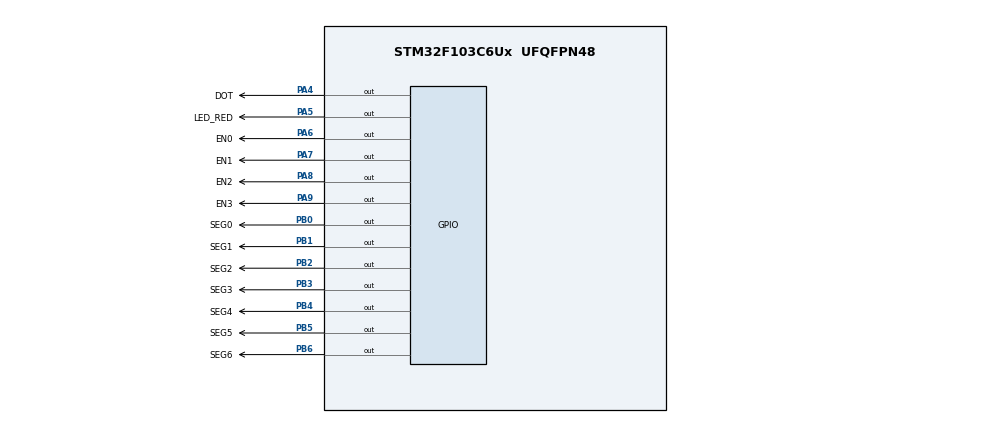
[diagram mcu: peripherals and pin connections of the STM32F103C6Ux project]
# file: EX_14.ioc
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Mcu.Family=STM32F1
Mcu.Name=STM32F103C6Ux
Mcu.Package=UFQFPN48
NVIC.PriorityGroup=NVIC_PRIORITYGROUP_4
NVIC.TIM2_IRQn=true\:0\:0\:false\:false\:true\:true\:true
PA4.GPIO_Label=DOT
PA4.Signal=GPIO_Output
PA5.GPIO_Label=LED_RED
PA5.Signal=GPIO_Output
PA6.GPIO_Label=EN0
PA6.Signal=GPIO_Output
PA7.GPIO_Label=EN1
PA7.Signal=GPIO_Output
PA8.GPIO_Label=EN2
PA8.Signal=GPIO_Output
PA9.GPIO_Label=EN3
PA9.Signal=GPIO_Output
PB0.GPIO_Label=SEG0
PB0.Signal=GPIO_Output
PB1.GPIO_Label=SEG1
PB1.Signal=GPIO_Output
PB2.GPIO_Label=SEG2
PB2.Signal=GPIO_Output
PB3.GPIO_Label=SEG3
PB3.Signal=GPIO_Output
PB4.GPIO_Label=SEG4
PB4.Signal=GPIO_Output
PB5.GPIO_Label=SEG5
PB5.Signal=GPIO_Output
PB6.GPIO_Label=SEG6
PB6.Signal=GPIO_Output
ProjectManager.HeapSize=0x200
ProjectManager.StackSize=0x400
ProjectManager.TargetToolchain=STM32CubeIDE
RCC.APB1Freq_Value=8000000
RCC.APB2Freq_Value=8000000
TIM2.Period=9
TIM2.Prescaler=7999
VP_SYS_VS_ND.Mode=No_Debug
VP_TIM2_VS_ClockSourceINT.Mode=Internal
board=custom

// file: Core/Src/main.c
/* USER CODE BEGIN Header */
/**
  ******************************************************************************
  * @file           : main.c
  * @brief          : Main program body
  ******************************************************************************
  * @attention
  *
  * Copyright (c) 2026 STMicroelectronics.
  * All rights reserved.
  *
  * This software is licensed under terms that can be found in the LICENSE file
  * in the root directory of this software component.
  * If no LICENSE file comes with this software, it is provided AS-IS.
  *
  ******************************************************************************
  */
/* USER CODE END Header */
#include "main.h"

TIM_HandleTypeDef htim2;

void SystemClock_Config(void);
static void MX_GPIO_Init(void);
static void MX_TIM2_Init(void);

/* USER CODE BEGIN 0 */
/* USER CODE BEGIN 0 */

void display7SEG(int num) {
    // -------------------------------------------------------------
    // Bước 1: Xóa hiển thị cũ bằng cách kéo tất cả các chân lên HIGH (TẮT)
    // -------------------------------------------------------------
    HAL_GPIO_WritePin(GPIOB, SEG0_Pin | SEG1_Pin | SEG2_Pin | SEG3_Pin
                           | SEG4_Pin | SEG5_Pin | SEG6_Pin, GPIO_PIN_SET);

    // -------------------------------------------------------------
    // Bước 2: Kéo chân các thanh LED cần hiển thị xuống LOW (SÁNG)
    // -------------------------------------------------------------
    switch (num) {
        case 0: // Số 0 -> Sáng: a, b, c, d, e, f (Tắt thanh g)
            HAL_GPIO_WritePin(GPIOB, SEG0_Pin | SEG1_Pin | SEG2_Pin | SEG3_Pin | SEG4_Pin | SEG5_Pin, GPIO_PIN_RESET);
            break;
        case 1: // Số 1 -> Sáng: b, c (Tắt a, d, e, f, g)
            HAL_GPIO_WritePin(GPIOB, SEG1_Pin | SEG2_Pin, GPIO_PIN_RESET);
            break;
        case 2: // Số 2 -> Sáng: a, b, d, e, g (Tắt c, f)
            HAL_GPIO_WritePin(GPIOB, SEG0_Pin | SEG1_Pin | SEG3_Pin | SEG4_Pin | SEG6_Pin, GPIO_PIN_RESET);
            break;
        case 3: // Số 3 -> Sáng: a, b, c, d, g (Tắt e, f)
            HAL_GPIO_WritePin(GPIOB, SEG0_Pin | SEG1_Pin | SEG2_Pin | SEG3_Pin | SEG6_Pin, GPIO_PIN_RESET);
            break;
        case 4: // Số 4 -> Sáng: b, c, f, g (Tắt a, d, e)
            HAL_GPIO_WritePin(GPIOB, SEG1_Pin | SEG2_Pin | SEG5_Pin | SEG6_Pin, GPIO_PIN_RESET);
            break;
        case 5: // Số 5 -> Sáng: a, c, d, f, g (Tắt b, e)
            HAL_GPIO_WritePin(GPIOB, SEG0_Pin | SEG2_Pin | SEG3_Pin | SEG5_Pin | SEG6_Pin, GPIO_PIN_RESET);
            break;
        case 6: // Số 6 -> Sáng: a, c, d, e, f, g (Tắt b)
            HAL_GPIO_WritePin(GPIOB, SEG0_Pin | SEG2_Pin | SEG3_Pin | SEG4_Pin | SEG5_Pin | SEG6_Pin, GPIO_PIN_RESET);
            break;
        case 7: // Số 7 -> Sáng: a, b, c (Tắt d, e, f, g)
            HAL_GPIO_WritePin(GPIOB, SEG0_Pin | SEG1_Pin | SEG2_Pin, GPIO_PIN_RESET);
            break;
        case 8: // Số 8 -> Sáng toàn bộ các thanh a, b, c, d, e, f, g
            HAL_GPIO_WritePin(GPIOB, SEG0_Pin | SEG1_Pin | SEG2_Pin | SEG3_Pin | SEG4_Pin | SEG5_Pin | SEG6_Pin, GPIO_PIN_RESET);
            break;
        case 9: // Số 9 -> Sáng: a, b, c, d, f, g (Tắt e)
            HAL_GPIO_WritePin(GPIOB, SEG0_Pin | SEG1_Pin | SEG2_Pin | SEG3_Pin | SEG5_Pin | SEG6_Pin, GPIO_PIN_RESET);
            break;
        default: // Trường hợp dữ liệu đầu vào ngoài phạm vi 0-9
            break;
    }
}
// =========================EX3==================================
const int MAX_LED = 4;                 // Số lượng LED 7 đoạn
int index_led = 0;                     // Vị trí LED đang được quét
int led_buffer[4] = {1, 2, 3, 4};      // Mảng chứa giá trị hiển thị: 1, 2, 3, 4

void update7SEG(int index) {
    // Tắt tất cả 4 transistor điều khiển trước để chống lem (PNP: SET = TẮT)
    HAL_GPIO_WritePin(GPIOA, EN0_Pin | EN1_Pin | EN2_Pin | EN3_Pin, GPIO_PIN_SET);

    switch (index) {
        case 0:
            // Bật LED thứ 1 và hiển thị dữ liệu ở phần tử 0
            HAL_GPIO_WritePin(GPIOA, EN0_Pin, GPIO_PIN_RESET);
            display7SEG(led_buffer[0]);
            break;
        case 1:
            // Bật LED thứ 2 và hiển thị dữ liệu ở phần tử 1
            HAL_GPIO_WritePin(GPIOA, EN1_Pin, GPIO_PIN_RESET);
            display7SEG(led_buffer[1]);
            break;
        case 2:
            // Bật LED thứ 3 và hiển thị dữ liệu ở phần tử 2
            HAL_GPIO_WritePin(GPIOA, EN2_Pin, GPIO_PIN_RESET);
            display7SEG(led_buffer[2]);
            break;
        case 3:
            // Bật LED thứ 4 và hiển thị dữ liệu ở phần tử 3
            HAL_GPIO_WritePin(GPIOA, EN3_Pin, GPIO_PIN_RESET);
            display7SEG(led_buffer[3]);
            break;
        default:
            break;
    }
}
// ==============================================================

/* USER CODE END 0 */

int main(void)
{

  /* MCU Configuration--------------------------------------------------------*/

  /* Reset of all peripherals, Initializes the Flash interface and the Systick. */
  HAL_Init();

  /* Configure the system clock */
  SystemClock_Config();

  /* Initialize all configured peripherals */
  MX_GPIO_Init();
  MX_TIM2_Init();
  /* USER CODE BEGIN 2 */
  HAL_TIM_Base_Start_IT(&htim2);
  /* USER CODE END 2 */

  /* Infinite loop */
  while (1)
  {

  }
}

void SystemClock_Config(void)
{
  RCC_OscInitTypeDef RCC_OscInitStruct = {0};
  RCC_ClkInitTypeDef RCC_ClkInitStruct = {0};

  /** Initializes the RCC Oscillators according to the specified parameters
  * in the RCC_OscInitTypeDef structure.
  */
  RCC_OscInitStruct.OscillatorType = RCC_OSCILLATORTYPE_HSI;
  RCC_OscInitStruct.HSIState = RCC_HSI_ON;
  RCC_OscInitStruct.HSICalibrationValue = RCC_HSICALIBRATION_DEFAULT;
  RCC_OscInitStruct.PLL.PLLState = RCC_PLL_NONE;
  if (HAL_RCC_OscConfig(&RCC_OscInitStruct) != HAL_OK)
  {
    Error_Handler();
  }
  /** Initializes the CPU, AHB and APB buses clocks
  */
  RCC_ClkInitStruct.ClockType = RCC_CLOCKTYPE_HCLK|RCC_CLOCKTYPE_SYSCLK
                              |RCC_CLOCKTYPE_PCLK1|RCC_CLOCKTYPE_PCLK2;
  RCC_ClkInitStruct.SYSCLKSource = RCC_SYSCLKSOURCE_HSI;
  RCC_ClkInitStruct.AHBCLKDivider = RCC_SYSCLK_DIV1;
  RCC_ClkInitStruct.APB1CLKDivider = RCC_HCLK_DIV1;
  RCC_ClkInitStruct.APB2CLKDivider = RCC_HCLK_DIV1;

  if (HAL_RCC_ClockConfig(&RCC_ClkInitStruct, FLASH_LATENCY_0) != HAL_OK)
  {
    Error_Handler();
  }
}

static void MX_TIM2_Init(void)
{

  TIM_ClockConfigTypeDef sClockSourceConfig = {0};
  TIM_MasterConfigTypeDef sMasterConfig = {0};

  htim2.Instance = TIM2;
  htim2.Init.Prescaler = 7999;
  htim2.Init.CounterMode = TIM_COUNTERMODE_UP;
  htim2.Init.Period = 9;
  htim2.Init.ClockDivision = TIM_CLOCKDIVISION_DIV1;
  htim2.Init.AutoReloadPreload = TIM_AUTORELOAD_PRELOAD_DISABLE;
  if (HAL_TIM_Base_Init(&htim2) != HAL_OK)
  {
    Error_Handler();
  }
  sClockSourceConfig.ClockSource = TIM_CLOCKSOURCE_INTERNAL;
  if (HAL_TIM_ConfigClockSource(&htim2, &sClockSourceConfig) != HAL_OK)
  {
    Error_Handler();
  }
  sMasterConfig.MasterOutputTrigger = TIM_TRGO_RESET;
  sMasterConfig.MasterSlaveMode = TIM_MASTERSLAVEMODE_DISABLE;
  if (HAL_TIMEx_MasterConfigSynchronization(&htim2, &sMasterConfig) != HAL_OK)
  {
    Error_Handler();
  }

}

static void MX_GPIO_Init(void)
{
  GPIO_InitTypeDef GPIO_InitStruct = {0};

  /* GPIO Ports Clock Enable */
  __HAL_RCC_GPIOA_CLK_ENABLE();
  __HAL_RCC_GPIOB_CLK_ENABLE();

  /*Configure GPIO pin Output Level */
  HAL_GPIO_WritePin(GPIOA, DOT_Pin|LED_RED_Pin|EN0_Pin|EN1_Pin
                          |EN2_Pin|EN3_Pin, GPIO_PIN_RESET);

  /*Configure GPIO pin Output Level */
  HAL_GPIO_WritePin(GPIOB, SEG0_Pin|SEG1_Pin|SEG2_Pin|SEG3_Pin
                          |SEG4_Pin|SEG5_Pin|SEG6_Pin, GPIO_PIN_RESET);

  /*Configure GPIO pins : DOT_Pin LED_RED_Pin EN0_Pin EN1_Pin
                           EN2_Pin EN3_Pin */
  GPIO_InitStruct.Pin = DOT_Pin|LED_RED_Pin|EN0_Pin|EN1_Pin
                          |EN2_Pin|EN3_Pin;
  GPIO_InitStruct.Mode = GPIO_MODE_OUTPUT_PP;
  GPIO_InitStruct.Pull = GPIO_NOPULL;
  GPIO_InitStruct.Speed = GPIO_SPEED_FREQ_LOW;
  HAL_GPIO_Init(GPIOA, &GPIO_InitStruct);

  /*Configure GPIO pins : SEG0_Pin SEG1_Pin SEG2_Pin SEG3_Pin
                           SEG4_Pin SEG5_Pin SEG6_Pin */
  GPIO_InitStruct.Pin = SEG0_Pin|SEG1_Pin|SEG2_Pin|SEG3_Pin
                          |SEG4_Pin|SEG5_Pin|SEG6_Pin;
  GPIO_InitStruct.Mode = GPIO_MODE_OUTPUT_PP;
  GPIO_InitStruct.Pull = GPIO_NOPULL;
  GPIO_InitStruct.Speed = GPIO_SPEED_FREQ_LOW;
  HAL_GPIO_Init(GPIOB, &GPIO_InitStruct);

}

/* USER CODE BEGIN 4 */
//=================INTRO========================================
//int counter = 100;
//void HAL_TIM_PeriodElapsedCallback ( TIM_HandleTypeDef * htim )
//{
//	counter--;
//	if (counter <= 0) {
//		counter = 100;
//		HAL_GPIO_TogglePin ( LED_RED_GPIO_Port , LED_RED_Pin );
//	}
//}
// ==============================================================

// =========================EX1==================================
//int counter_led = 50; // 50 * 10ms = 500ms (0.5 giây)
//int state_led = 0;    // Trạng thái quét 0 hoặc 1
//
//void HAL_TIM_PeriodElapsedCallback(TIM_HandleTypeDef *htim) {
//    if (htim->Instance == TIM2) {
//        counter_led--;
//
//        if (counter_led <= 0) {
//            counter_led = 50; // Reset lại bộ đếm 500ms
//
//            // Tắt cả 2 LED trước để tránh bị lem (PNP: SET = TẮT)
//            HAL_GPIO_WritePin(GPIOA, EN0_Pin | EN1_Pin, GPIO_PIN_SET);
//
//            switch (state_led) {
//                case 0:
//                    HAL_GPIO_WritePin(GPIOA, EN0_Pin, GPIO_PIN_RESET); // Bật LED 0
//                    display7SEG(1);                                    // Hiện số 1
//                    state_led = 1;
//                    break;
//
//                case 1:
//                    HAL_GPIO_WritePin(GPIOA, EN1_Pin, GPIO_PIN_RESET); // Bật LED 1
//                    display7SEG(2);                                    // Hiện số 2
//                    state_led = 0;
//                    break;
//
//                default:
//                    state_led = 0;
//                    break;
//            }
//        }
//    }
//}
// ==============================================================

// =========================EX2==================================
//int counter_led = 50;  // 50 * 10ms = 500ms (0.5s) đổi LED 7 đoạn 1 lần
//int counter_dot = 100; // 100 * 10ms = 1000ms (1s) chớp tắt LED DOT 1 lần
//int state_led = 0;     // Trạng thái quét 0, 1, 2, 3 tương ứng 4 LED
//
//void HAL_TIM_PeriodElapsedCallback(TIM_HandleTypeDef *htim) {
//    if (htim->Instance == TIM2) {
//
//        // -------------------------------------------------------------
//        // 1. Xử lý chớp tắt 2 LED DOT (PA4) mỗi 1 giây
//        // -------------------------------------------------------------
//        counter_dot--;
//        if (counter_dot <= 0) {
//            counter_dot = 100; // Reset đếm 1000ms
//            HAL_GPIO_TogglePin(GPIOA, DOT_Pin); // �?ảo trạng thái DOT (PA4)
//        }
//
//        // -------------------------------------------------------------
//        // 2. Xử lý quét 4 LED 7 đoạn mỗi 500ms (dùng switch-case)
//        // -------------------------------------------------------------
//        counter_led--;
//        if (counter_led <= 0) {
//            counter_led = 50; // Reset đếm 500ms
//
//            // Tắt tất cả 4 transistor đi�?u khiển trước (Anode PNP: SET = TẮT)
//            HAL_GPIO_WritePin(GPIOA, EN0_Pin | EN1_Pin | EN2_Pin | EN3_Pin, GPIO_PIN_SET);
//
//            switch (state_led) {
//                case 0: // Bật LED 0 -> Hiển thị số 1
//                    HAL_GPIO_WritePin(GPIOA, EN0_Pin, GPIO_PIN_RESET);
//                    display7SEG(1);
//                    state_led = 1;
//                    break;
//
//                case 1: // Bật LED 1 -> Hiển thị số 2
//                    HAL_GPIO_WritePin(GPIOA, EN1_Pin, GPIO_PIN_RESET);
//                    display7SEG(2);
//                    state_led = 2;
//                    break;
//
//                case 2: // Bật LED 2 -> Hiển thị số 3
//                    HAL_GPIO_WritePin(GPIOA, EN2_Pin, GPIO_PIN_RESET);
//                    display7SEG(3);
//                    state_led = 3;
//                    break;
//
//                case 3: // Bật LED 3 -> Hiển thị số 0
//                    HAL_GPIO_WritePin(GPIOA, EN3_Pin, GPIO_PIN_RESET);
//                    display7SEG(0);
//                    state_led = 0;
//                    break;
//
//                default:
//                    state_led = 0;
//                    break;
//            }
//        }
//    }
//}
// ==============================================================

// =========================EX3==================================
//int counter_led = 50;  // 50 * 10ms = 500ms (0.5s) quét 1 LED
//int counter_dot = 100; // 100 * 10ms = 1000ms (1s) chớp tắt DOT
//
//void HAL_TIM_PeriodElapsedCallback(TIM_HandleTypeDef *htim) {
//    if (htim->Instance == TIM2) {
//
//        // 1. Chớp tắt 2 LED DOT mỗi 1 giây
//        counter_dot--;
//        if (counter_dot <= 0) {
//            counter_dot = 100;
//            HAL_GPIO_TogglePin(GPIOA, DOT_Pin);
//        }
//
//        // 2. Quét LED 7 đoạn mỗi 500ms
//        counter_led--;
//        if (counter_led <= 0) {
//            counter_led = 50;
//
//            // Gọi hàm quét LED dựa trên biến index_led hiện tại
//            update7SEG(index_led);
//
//            // Tăng index_led để lần ngắt sau quét LED tiếp theo
//            index_led++;
//
//            // Nếu vượt quá MAX_LED thì quay vòng về 0
//            if (index_led >= MAX_LED) {
//                index_led = 0;
//            }
//        }
//    }
//}

// ==============================================================

// =========================EX4==================================
int counter_led = 25;  // 25 * 10ms = 250ms đổi LED 1 lần -> 4 LED mất 1000ms (tần số 1Hz)
int counter_dot = 100; // 100 * 10ms = 1000ms (1s) chớp tắt LED DOT 1 lần

void HAL_TIM_PeriodElapsedCallback(TIM_HandleTypeDef *htim) {
    if (htim->Instance == TIM2) {

        // 1. Chớp tắt 2 LED DOT (PA4) mỗi 1 giây
        counter_dot--;
        if (counter_dot <= 0) {
            counter_dot = 100;
            HAL_GPIO_TogglePin(GPIOA, DOT_Pin);
        }

        // 2. Quét LED 7 đoạn (Chuyển LED mỗi 250ms)
        counter_led--;
        if (counter_led <= 0) {
            counter_led = 25;

            // Cập nhật giá trị lên LED hiện tại
            update7SEG(index_led);

            // Tăng vị trí LED cho lần ngắt tiếp theo
            index_led++;
            if (index_led >= MAX_LED) {
                index_led = 0;
            }
        }
    }
}
// ==============================================================
/* USER CODE END 4 */

void Error_Handler(void)
{
  __disable_irq();
  while (1)
  {
  }
}
